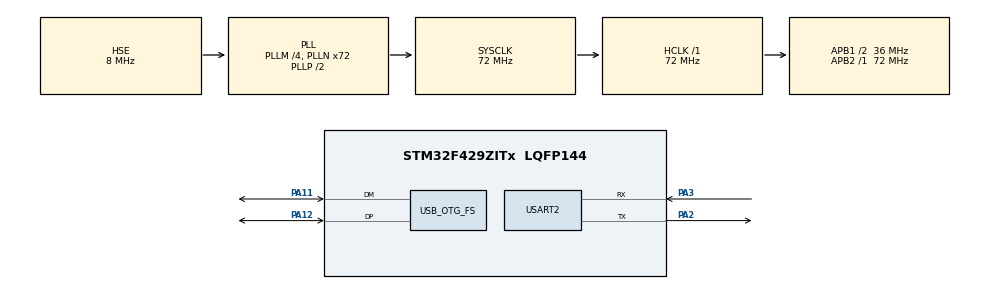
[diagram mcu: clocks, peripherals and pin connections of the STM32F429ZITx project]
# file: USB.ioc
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Mcu.Family=STM32F4
Mcu.Name=STM32F429ZITx
Mcu.Package=LQFP144
NVIC.OTG_FS_IRQn=true\:0\:0\:false\:false\:true\:true\:true\:true
NVIC.PriorityGroup=NVIC_PRIORITYGROUP_0
NVIC.TIM6_DAC_IRQn=true\:0\:0\:false\:false\:true\:false\:true\:true
NVIC.TimeBase=TIM6_DAC_IRQn
NVIC.TimeBaseIP=TIM6
PA11.Mode=Device_Only
PA11.Signal=USB_OTG_FS_DM
PA12.Mode=Device_Only
PA12.Signal=USB_OTG_FS_DP
PA2.Mode=Asynchronous
PA2.Signal=USART2_TX
PA3.Mode=Asynchronous
PA3.Signal=USART2_RX
PH0/OSC_IN.Mode=HSE-External-Oscillator
PH0/OSC_IN.Signal=RCC_OSC_IN
PH1/OSC_OUT.Mode=HSE-External-Oscillator
PH1/OSC_OUT.Signal=RCC_OSC_OUT
ProjectManager.HeapSize=0x200
ProjectManager.StackSize=0x400
ProjectManager.TargetToolchain=STM32CubeIDE
RCC.48MHZClocksFreq_Value=48000000
RCC.AHBFreq_Value=72000000
RCC.APB1CLKDivider=RCC_HCLK_DIV2
RCC.APB1Freq_Value=36000000
RCC.APB1TimFreq_Value=72000000
RCC.APB2Freq_Value=72000000
RCC.APB2TimFreq_Value=72000000
RCC.CortexFreq_Value=72000000
RCC.HCLKFreq_Value=72000000
RCC.HSE_VALUE=8000000
RCC.HSI_VALUE=16000000
RCC.LSE_VALUE=32768
RCC.PLLM=4
RCC.PLLN=72
RCC.PLLQ=3
RCC.SYSCLKFreq_VALUE=72000000
RCC.SYSCLKSource=RCC_SYSCLKSOURCE_PLLCLK
RCC.VCOOutputFreq_Value=144000000
USART2.VirtualMode=VM_ASYNC
USB_DEVICE.CLASS_NAME_FS=CDC
USB_DEVICE.VirtualMode-CDC_FS=Cdc
USB_DEVICE.VirtualModeFS=Cdc_FS
USB_OTG_FS.VirtualMode=Device_Only
VP_SYS_VS_tim6.Mode=TIM6
VP_USB_DEVICE_VS_USB_DEVICE_CDC_FS.Mode=CDC_FS
board=STM32F429I-DISC1

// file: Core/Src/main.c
/* USER CODE BEGIN Header */
/**
  ******************************************************************************
  * @file           : main.c
  * @brief          : Main program body
  ******************************************************************************
  * @attention
  *
  * Copyright (c) 2023 STMicroelectronics.
  * All rights reserved.
  *
  * This software is licensed under terms that can be found in the LICENSE file
  * in the root directory of this software component.
  * If no LICENSE file comes with this software, it is provided AS-IS.
  *
  ******************************************************************************
  */
/* USER CODE END Header */
#include "main.h"
#include "usb_device.h"

/* USER CODE BEGIN Includes */
#include <FreeRTOS.h>
#include <task.h>
#include "VirtualCommDriver.h"
#include <string.h>
#include <SEGGER_SYSVIEW.h>
#include <stm32f429xx.h>
#include <stm32f4xx_hal.h>
/* USER CODE END Includes */

UART_HandleTypeDef huart2;

/* USER CODE BEGIN PV */

// some common variables to use for each task
// 128 * 4 = 512 bytes
//(recommended min stack size per task)
#define STACK_SIZE 128

void usbPrintOutTask( void* NotUsed);

/* USER CODE END PV */

void SystemClock_Config(void);
static void MX_GPIO_Init(void);
static void MX_USART2_UART_Init(void);

int main(void)
{

  /* MCU Configuration--------------------------------------------------------*/

  /* Reset of all peripherals, Initializes the Flash interface and the Systick. */
  HAL_Init();

  /* Configure the system clock */
  SystemClock_Config();

  /* USER CODE BEGIN SysInit */

  VirtualCommInit();
  SEGGER_SYSVIEW_Conf();
  HAL_NVIC_SetPriorityGrouping(NVIC_PRIORITYGROUP_4);	//ensure proper priority grouping for freeRTOS

  /* USER CODE END SysInit */

  /* Initialize all configured peripherals */
  MX_GPIO_Init();
  MX_USART2_UART_Init();
  MX_USB_DEVICE_Init();
  /* USER CODE BEGIN 2 */

  //setup tasks, making sure they have been properly created before moving on
  assert_param(xTaskCreate(usbPrintOutTask, "usbprint", STACK_SIZE, NULL, tskIDLE_PRIORITY + 2, NULL) == pdPASS);

  //start the scheduler - shouldn't return unless there's a problem
  vTaskStartScheduler();

  /* USER CODE END 2 */

  /* Infinite loop */
  while (1)
  {

  }
}

void SystemClock_Config(void)
{
  RCC_OscInitTypeDef RCC_OscInitStruct = {0};
  RCC_ClkInitTypeDef RCC_ClkInitStruct = {0};

  /** Configure the main internal regulator output voltage
  */
  __HAL_RCC_PWR_CLK_ENABLE();
  __HAL_PWR_VOLTAGESCALING_CONFIG(PWR_REGULATOR_VOLTAGE_SCALE3);

  /** Initializes the RCC Oscillators according to the specified parameters
  * in the RCC_OscInitTypeDef structure.
  */
  RCC_OscInitStruct.OscillatorType = RCC_OSCILLATORTYPE_HSE;
  RCC_OscInitStruct.HSEState = RCC_HSE_ON;
  RCC_OscInitStruct.PLL.PLLState = RCC_PLL_ON;
  RCC_OscInitStruct.PLL.PLLSource = RCC_PLLSOURCE_HSE;
  RCC_OscInitStruct.PLL.PLLM = 4;
  RCC_OscInitStruct.PLL.PLLN = 72;
  RCC_OscInitStruct.PLL.PLLP = RCC_PLLP_DIV2;
  RCC_OscInitStruct.PLL.PLLQ = 3;
  if (HAL_RCC_OscConfig(&RCC_OscInitStruct) != HAL_OK)
  {
    Error_Handler();
  }

  /** Initializes the CPU, AHB and APB buses clocks
  */
  RCC_ClkInitStruct.ClockType = RCC_CLOCKTYPE_HCLK|RCC_CLOCKTYPE_SYSCLK
                              |RCC_CLOCKTYPE_PCLK1|RCC_CLOCKTYPE_PCLK2;
  RCC_ClkInitStruct.SYSCLKSource = RCC_SYSCLKSOURCE_PLLCLK;
  RCC_ClkInitStruct.AHBCLKDivider = RCC_SYSCLK_DIV1;
  RCC_ClkInitStruct.APB1CLKDivider = RCC_HCLK_DIV2;
  RCC_ClkInitStruct.APB2CLKDivider = RCC_HCLK_DIV1;

  if (HAL_RCC_ClockConfig(&RCC_ClkInitStruct, FLASH_LATENCY_2) != HAL_OK)
  {
    Error_Handler();
  }
}

static void MX_USART2_UART_Init(void)
{

  huart2.Instance = USART2;
  huart2.Init.BaudRate = 115200;
  huart2.Init.WordLength = UART_WORDLENGTH_8B;
  huart2.Init.StopBits = UART_STOPBITS_1;
  huart2.Init.Parity = UART_PARITY_NONE;
  huart2.Init.Mode = UART_MODE_TX_RX;
  huart2.Init.HwFlowCtl = UART_HWCONTROL_NONE;
  huart2.Init.OverSampling = UART_OVERSAMPLING_16;
  if (HAL_UART_Init(&huart2) != HAL_OK)
  {
    Error_Handler();
  }

}

static void MX_GPIO_Init(void)
{

  /* GPIO Ports Clock Enable */
  __HAL_RCC_GPIOH_CLK_ENABLE();
  __HAL_RCC_GPIOA_CLK_ENABLE();

}

/* USER CODE BEGIN 4 */

void usbPrintOutTask( void* NotUsed)
{
	const uint8_t testString[] = "test\n";
	const uint8_t messageString[] = "message\n";

	while(1)
	{
		SEGGER_SYSVIEW_PrintfHost("add \"test\" to txStream");
		TransmitUsbDataLossy(testString, sizeof(testString));
		SEGGER_SYSVIEW_PrintfHost("add \"message\" to txStream");
		TransmitUsbDataLossy(messageString, sizeof(messageString));
		vTaskDelay(2);
	}
}

/* USER CODE END 4 */

void HAL_TIM_PeriodElapsedCallback(TIM_HandleTypeDef *htim)
{
  if (htim->Instance == TIM6) {
    HAL_IncTick();
  }
}

void Error_Handler(void)
{
  __disable_irq();
  while (1)
  {
  }
}
